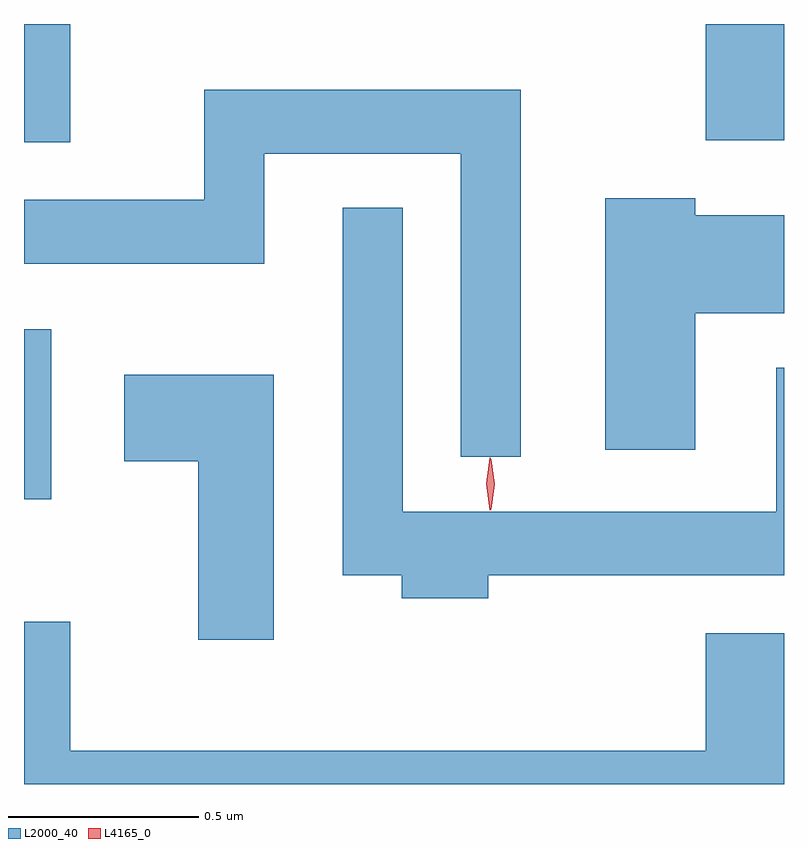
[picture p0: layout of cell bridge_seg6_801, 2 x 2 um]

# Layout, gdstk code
import gdstk
lib = gdstk.Library(unit=1e-6, precision=1e-09)
def R(c, l, rs):  # rectangles x0, y0, x1, y1
    for r in rs: c.add(gdstk.rectangle(r[:2], r[2:], *l))
def P(c, l, *ps):  # polygons
    for p in ps: c.add(gdstk.Polygon(p, *l))
L2000_40 = (2000, 40)
L4165_0 = (4165, 0)

bridge_seg6_801 = lib.new_cell('bridge_seg6_801')
R(bridge_seg6_801, L2000_40, [(417.967,1593.146,418.039,1593.594), (417.967,1594.086,418.089,1594.397), (419.761,1594.091,419.967,1594.397)])
P(bridge_seg6_801, L2000_40, [(419.274,1594.224),(418.441,1594.224),(418.441,1593.934),(417.967,1593.934),(417.967,1593.766),(418.599,1593.766),(418.599,1594.056),(419.116,1594.056),(419.116,1593.258),(419.274,1593.258)],
  [(419.734,1593.636),(419.967,1593.636),(419.967,1593.894),(419.734,1593.894),(419.734,1593.939),(419.496,1593.939),(419.496,1593.276),(419.734,1593.276)],
  [(419.189,1592.946),(419.967,1592.946),(419.967,1593.493),(419.946,1593.493),(419.946,1593.114),(418.964,1593.114),(418.964,1593.913),(418.806,1593.913),(418.806,1592.946),(418.961,1592.946),(418.961,1592.886),(419.189,1592.886)],
  [(418.624,1593.474),(418.231,1593.474),(418.231,1593.246),(418.426,1593.246),(418.426,1592.776),(418.624,1592.776)],
  [(419.967,1592.794),(419.761,1592.794),(419.761,1592.484),(418.089,1592.484),(418.089,1592.824),(417.967,1592.824),(417.967,1592.397),(419.967,1592.397)])
P(bridge_seg6_801, L4165_0, [(419.195,1593.119),(419.195,1593.12),(419.185,1593.186),(419.195,1593.252),(419.195,1593.253),(419.196,1593.252),(419.206,1593.186),(419.196,1593.12)],
  [(419.192,1593.117),(419.183,1593.187),(419.192,1593.256),(419.193,1593.256),(419.194,1593.256),(419.203,1593.187),(419.194,1593.117),(419.193,1593.117)])

lib.write_gds('bridge_seg6_801.gds')
